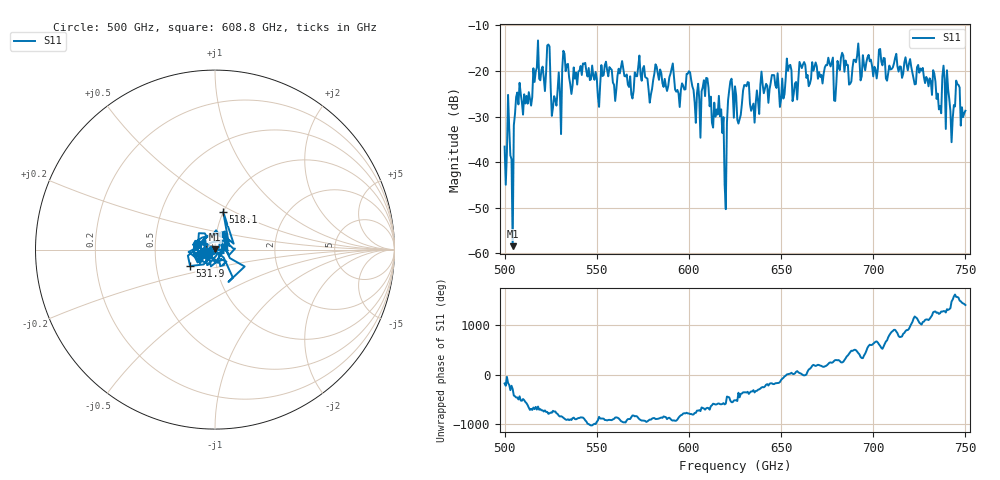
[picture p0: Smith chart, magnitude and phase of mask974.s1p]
!Created with skrf (http://scikit-rf.org).
# GHz S MA R 50.0
!freq magS11 angS11
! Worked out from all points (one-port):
!   401 points, 500 GHz to 750 GHz, reference 50 ohm
!   lowest |S11| = -58.4 dB at 504.4 GHz (marker M1), VSWR 1.00, Z = 50 + j0.112 ohm
!   |S11| at or under -10 dB: start of sweep to end of sweep
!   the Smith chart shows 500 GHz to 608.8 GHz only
!   S11 on the Smith chart (normalised r, x): 500 GHz: 0.97, -0.00; 518.1 GHz: 1.00, +0.44; 531.9 GHz: 0.74, -0.14; 608.8 GHz: 1.11, +0.03
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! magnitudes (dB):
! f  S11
! 500 GHz  -36.6
! 502.5 GHz  -32.5
! 504.4 GHz  -58.4
! 506.9 GHz  -24.7
! 513.8 GHz  -26.2
! 518.1 GHz  -13.3
! 523.8 GHz  -14.2
! 526.9 GHz  -25.5
! 531.2 GHz  -19.7
! 531.9 GHz  -15.6
! 562.5 GHz  -20.5
! 579.4 GHz  -25.2
! 590.6 GHz  -19.5
! 593.8 GHz  -24.2
! 600 GHz  -20.1
! 605 GHz  -22.8
! 608.8 GHz  -25.5
! 617.5 GHz  -28.4
! 619.4 GHz  -44.9
! 622.5 GHz  -22.2
! 625 GHz  -23.4
! 650.6 GHz  -21.7
! 654.4 GHz  -18.9
! 656.2 GHz  -26.6
! 687.5 GHz  -22.8
! 690.6 GHz  -18.1
! 718.8 GHz  -19.9
! 750 GHz  -28.7
